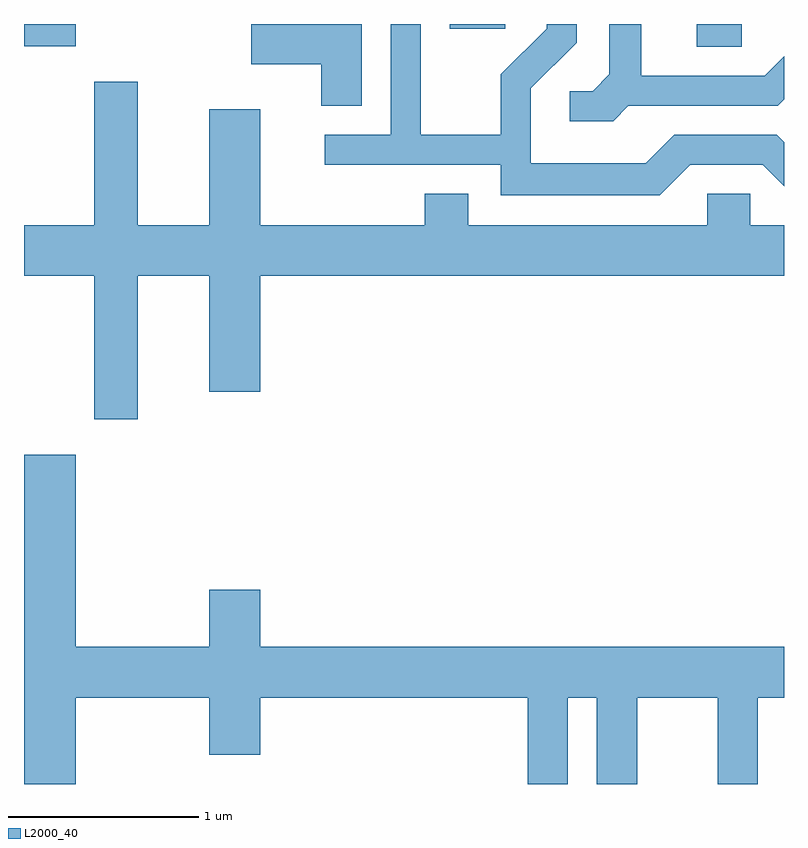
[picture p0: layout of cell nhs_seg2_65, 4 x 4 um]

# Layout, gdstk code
import gdstk
lib = gdstk.Library(unit=1e-6, precision=1e-09)
def R(c, l, rs):  # rectangles x0, y0, x1, y1
    for r in rs: c.add(gdstk.rectangle(r[:2], r[2:], *l))
def P(c, l, *ps):  # polygons
    for p in ps: c.add(gdstk.Polygon(p, *l))
L2000_40 = (2000, 40)

nhs_seg2_65 = lib.new_cell('nhs_seg2_65')
R(nhs_seg2_65, L2000_40, [(189.151,1111.681,189.389,1111.802), (185.611,1111.686,185.884,1111.802), (187.851,1111.776,188.144,1111.802)])
P(nhs_seg2_65, L2000_40, [(188.792,1111.371),(189.577,1111.371),(189.611,1111.405),(189.611,1111.632),(189.509,1111.529),(188.859,1111.529),(188.859,1111.802),(188.691,1111.802),(188.691,1111.537),(188.604,1111.449),(188.483,1111.449),(188.483,1111.291),(188.712,1111.291)],
  [(189.117,1111.061),(189.499,1111.061),(189.611,1110.949),(189.611,1111.18),(189.572,1111.219),(189.034,1111.219),(188.884,1111.069),(188.279,1111.069),(188.279,1111.464),(188.519,1111.704),(188.519,1111.802),(188.361,1111.802),(188.361,1111.777),(188.121,1111.537),(188.121,1111.219),(187.699,1111.219),(187.699,1111.802),(187.541,1111.802),(187.541,1111.219),(187.193,1111.219),(187.193,1111.061),(188.121,1111.061),(188.121,1110.901),(188.957,1110.901)],
  [(187.389,1111.802),(186.806,1111.802),(186.806,1111.591),(187.176,1111.591),(187.176,1111.371),(187.389,1111.371)],
  [(186.209,1110.476),(186.586,1110.476),(186.586,1109.866),(186.854,1109.866),(186.854,1110.476),(189.611,1110.476),(189.611,1110.744),(189.434,1110.744),(189.434,1110.909),(189.206,1110.909),(189.206,1110.744),(187.949,1110.744),(187.949,1110.909),(187.721,1110.909),(187.721,1110.744),(186.854,1110.744),(186.854,1111.354),(186.586,1111.354),(186.586,1110.744),(186.209,1110.744),(186.209,1111.499),(185.981,1111.499),(185.981,1110.744),(185.611,1110.744),(185.611,1110.476),(185.981,1110.476),(185.981,1109.721),(186.209,1109.721)],
  [(185.884,1108.256),(186.586,1108.256),(186.586,1107.956),(186.854,1107.956),(186.854,1108.256),(188.261,1108.256),(188.261,1107.802),(188.474,1107.802),(188.474,1108.256),(188.626,1108.256),(188.626,1107.802),(188.839,1107.802),(188.839,1108.256),(189.261,1108.256),(189.261,1107.802),(189.474,1107.802),(189.474,1108.256),(189.611,1108.256),(189.611,1108.524),(186.854,1108.524),(186.854,1108.824),(186.586,1108.824),(186.586,1108.524),(185.884,1108.524),(185.884,1109.534),(185.611,1109.534),(185.611,1107.802),(185.884,1107.802)])

lib.write_gds('nhs_seg2_65.gds')
